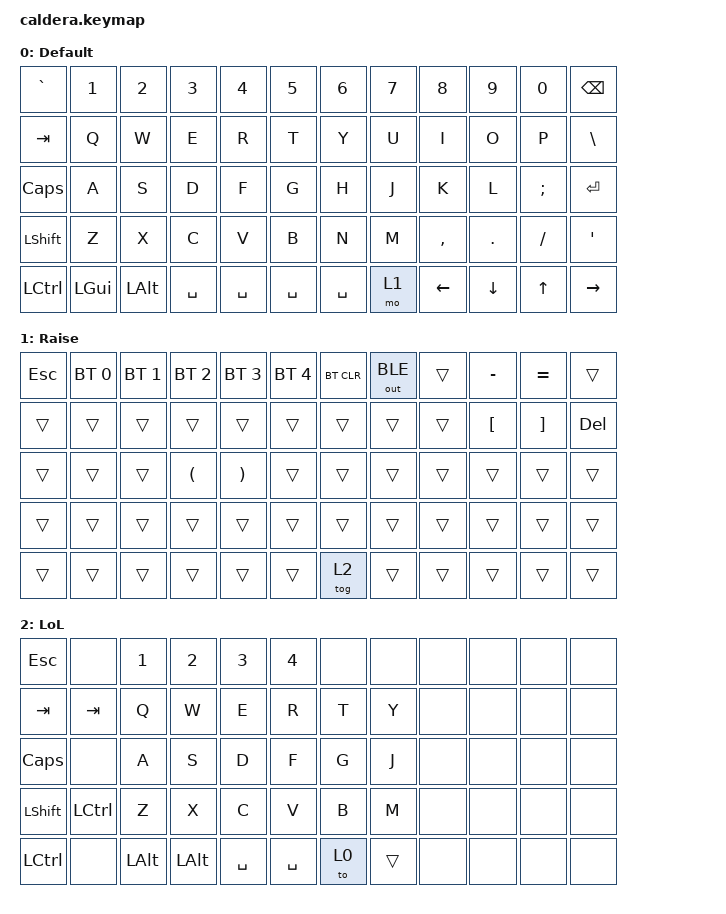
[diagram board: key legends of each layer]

#include <behaviors.dtsi>
#include <dt-bindings/zmk/bt.h>
#include <dt-bindings/zmk/keys.h>
#include <dt-bindings/zmk/outputs.h>

/ {    
    keymap {
        compatible = "zmk,keymap";

        default_layer {
            display-name = "Default";
            bindings = <
&kp GRAVE  &kp N1        &kp N2        &kp N3     &kp N4     &kp N5       &kp N6     &kp N7  &kp N8          &kp N9          &kp N0        &kp BSPC
&kp TAB    &kp Q         &kp W         &kp E      &kp R      &kp T        &kp Y      &kp U   &kp I           &kp O           &kp P         &kp BSLH
&kp CAPS   &kp A         &kp S         &kp D      &kp F      &kp G        &kp H      &kp J   &kp K           &kp L           &kp SEMI      &kp RET
&kp LSHFT  &kp Z         &kp X         &kp C      &kp V      &kp B        &kp N      &kp M   &kp COMMA       &kp DOT         &kp FSLH      &kp APOS
&kp LCTRL  &kp LEFT_GUI  &kp LEFT_ALT  &kp SPACE  &kp SPACE  &kp SPACE    &kp SPACE  &mo 1   &kp LEFT_ARROW  &kp DOWN_ARROW  &kp UP_ARROW  &kp RIGHT
            >;
        };

        Lower {
            display-name = "Raise";
            bindings = <
&kp ESC  &bt BT_SEL 0  &bt BT_SEL 1  &bt BT_SEL 2  &bt BT_SEL 3  &bt BT_SEL 4    &bt BT_CLR  &out OUT_BLE  &trans  &kp MINUS  &kp EQUAL  &trans
&trans   &trans        &trans        &trans        &trans        &trans          &trans      &trans        &trans  &kp LBKT   &kp RBKT   &kp DEL
&trans   &trans        &trans        &kp LPAR      &kp RPAR      &trans          &trans      &trans        &trans  &trans     &trans     &trans
&trans   &trans        &trans        &trans        &trans        &trans          &trans      &trans        &trans  &trans     &trans     &trans
&trans   &trans        &trans        &trans        &trans        &trans          &tog 2      &trans        &trans  &trans     &trans     &trans
            >;
        };

        Gaming {
            display-name = "LoL";
            bindings = <
&kp ESC    &none      &kp N1        &kp N2     &kp N3     &kp N4           &none  &none  &none  &none  &none  &none
&kp TAB    &kp TAB    &kp Q         &kp W      &kp E      &kp R            &kp T  &kp Y  &none  &none  &none  &none
&kp CAPS   &none      &kp A         &kp S      &kp D      &kp F            &kp G  &kp J  &none  &none  &none  &none
&kp LSHFT  &kp LCTRL  &kp Z         &kp X      &kp C      &kp V            &kp B  &kp M  &none  &none  &none  &none
&kp LCTRL  &none      &kp LEFT_ALT  &kp LEFT_ALT  &kp SPACE  &kp SPACE     &to 0  &trans  &none  &none  &none  &none
            >;
        };
    };
};
